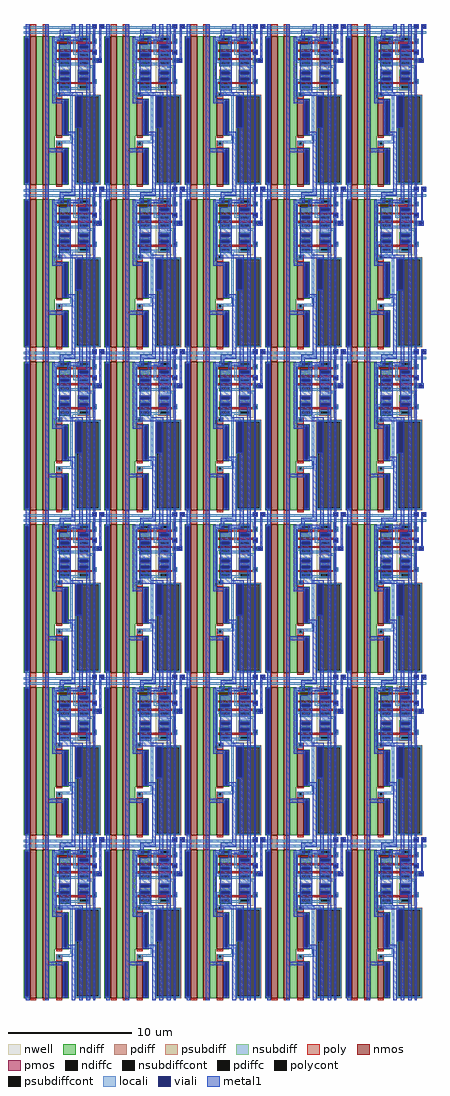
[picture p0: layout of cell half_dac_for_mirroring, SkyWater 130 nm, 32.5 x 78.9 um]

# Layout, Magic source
magic
tech sky130A
use current_steering_dac_unit_cell_with_encoder  current_steering_dac_unit_cell_with_encoder_0
transform 1 0 0 0 1 15
box 0 -15 650 1300
use current_steering_dac_unit_cell_with_encoder  current_steering_dac_unit_cell_with_encoder_1
transform 1 0 650 0 1 15
box 0 -15 650 1300
use current_steering_dac_unit_cell_with_encoder  current_steering_dac_unit_cell_with_encoder_2
transform 1 0 1300 0 1 15
box 0 -15 650 1300
use current_steering_dac_unit_cell_with_encoder  current_steering_dac_unit_cell_with_encoder_4
transform 1 0 0 0 1 1330
box 0 -15 650 1300
use current_steering_dac_unit_cell_with_encoder  current_steering_dac_unit_cell_with_encoder_5
transform 1 0 650 0 1 1330
box 0 -15 650 1300
use current_steering_dac_unit_cell_with_encoder  current_steering_dac_unit_cell_with_encoder_6
transform 1 0 1300 0 1 1330
box 0 -15 650 1300
use current_steering_dac_unit_cell_with_encoder  current_steering_dac_unit_cell_with_encoder_8
transform 1 0 0 0 1 2645
box 0 -15 650 1300
use current_steering_dac_unit_cell_with_encoder  current_steering_dac_unit_cell_with_encoder_9
transform 1 0 650 0 1 2645
box 0 -15 650 1300
use current_steering_dac_unit_cell_with_encoder  current_steering_dac_unit_cell_with_encoder_10
transform 1 0 1300 0 1 2645
box 0 -15 650 1300
use current_steering_dac_unit_cell_with_encoder  current_steering_dac_unit_cell_with_encoder_12
transform 1 0 0 0 1 3960
box 0 -15 650 1300
use current_steering_dac_unit_cell_with_encoder  current_steering_dac_unit_cell_with_encoder_13
transform 1 0 650 0 1 3960
box 0 -15 650 1300
use current_steering_dac_unit_cell_with_encoder  current_steering_dac_unit_cell_with_encoder_14
transform 1 0 1300 0 1 3960
box 0 -15 650 1300
use current_steering_dac_unit_cell_with_encoder  current_steering_dac_unit_cell_with_encoder_16
transform 1 0 -650 0 1 3960
box 0 -15 650 1300
use current_steering_dac_unit_cell_with_encoder  current_steering_dac_unit_cell_with_encoder_17
transform 1 0 -650 0 1 2645
box 0 -15 650 1300
use current_steering_dac_unit_cell_with_encoder  current_steering_dac_unit_cell_with_encoder_18
transform 1 0 -650 0 1 1330
box 0 -15 650 1300
use current_steering_dac_unit_cell_with_encoder  current_steering_dac_unit_cell_with_encoder_19
transform 1 0 -650 0 1 15
box 0 -15 650 1300
use dummy_current_steering_dac_unit_cell_with_encoder  dummy_current_steering_dac_unit_cell_with_encoder_0
transform 1 0 -650 0 1 5275
box 0 -15 650 1300
use dummy_current_steering_dac_unit_cell_with_encoder  dummy_current_steering_dac_unit_cell_with_encoder_1
transform 1 0 1950 0 1 3960
box 0 -15 650 1300
use dummy_current_steering_dac_unit_cell_with_encoder  dummy_current_steering_dac_unit_cell_with_encoder_2
transform 1 0 1950 0 1 2645
box 0 -15 650 1300
use dummy_current_steering_dac_unit_cell_with_encoder  dummy_current_steering_dac_unit_cell_with_encoder_3
transform 1 0 1950 0 1 1330
box 0 -15 650 1300
use dummy_current_steering_dac_unit_cell_with_encoder  dummy_current_steering_dac_unit_cell_with_encoder_4
transform 1 0 1950 0 1 15
box 0 -15 650 1300
use dummy_current_steering_dac_unit_cell_with_encoder  dummy_current_steering_dac_unit_cell_with_encoder_5
transform 1 0 -650 0 1 -1300
box 0 -15 650 1300
use dummy_current_steering_dac_unit_cell_with_encoder  dummy_current_steering_dac_unit_cell_with_encoder_6
transform 1 0 0 0 1 -1300
box 0 -15 650 1300
use dummy_current_steering_dac_unit_cell_with_encoder  dummy_current_steering_dac_unit_cell_with_encoder_7
transform 1 0 650 0 1 -1300
box 0 -15 650 1300
use dummy_current_steering_dac_unit_cell_with_encoder  dummy_current_steering_dac_unit_cell_with_encoder_8
transform 1 0 1300 0 1 -1300
box 0 -15 650 1300
use dummy_current_steering_dac_unit_cell_with_encoder  dummy_current_steering_dac_unit_cell_with_encoder_9
transform 1 0 1950 0 1 -1300
box 0 -15 650 1300
use dummy_current_steering_dac_unit_cell_with_encoder  dummy_current_steering_dac_unit_cell_with_encoder_10
transform 1 0 0 0 1 5275
box 0 -15 650 1300
use dummy_current_steering_dac_unit_cell_with_encoder  dummy_current_steering_dac_unit_cell_with_encoder_11
transform 1 0 650 0 1 5275
box 0 -15 650 1300
use dummy_current_steering_dac_unit_cell_with_encoder  dummy_current_steering_dac_unit_cell_with_encoder_12
transform 1 0 1300 0 1 5275
box 0 -15 650 1300
use dummy_current_steering_dac_unit_cell_with_encoder  dummy_current_steering_dac_unit_cell_with_encoder_13
transform 1 0 1950 0 1 5275
box 0 -15 650 1300
<< end >>

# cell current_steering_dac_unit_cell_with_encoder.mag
magic
tech sky130A
<< nwell >>
rect 415 745 555 1225
<< nmos >>
rect 50 0 100 1200
rect 150 0 200 1200
rect 280 1140 380 1155
rect 280 1075 380 1090
rect 280 1010 380 1025
rect 280 815 380 830
rect 260 395 310 695
rect 260 0 310 300
<< pmos >>
rect 435 1140 535 1155
rect 435 1075 535 1090
rect 435 1010 535 1025
rect 435 815 535 830
<< ndiff >>
rect 0 1185 50 1200
rect 0 15 15 1185
rect 35 15 50 1185
rect 0 0 50 15
rect 100 0 150 1200
rect 200 695 250 1200
rect 280 1190 380 1205
rect 280 1170 295 1190
rect 365 1170 380 1190
rect 280 1155 380 1170
rect 280 1090 380 1140
rect 280 1060 380 1075
rect 280 1040 295 1060
rect 365 1040 380 1060
rect 280 1025 380 1040
rect 280 995 380 1010
rect 280 975 295 995
rect 365 975 380 995
rect 280 960 380 975
rect 280 865 380 880
rect 280 845 295 865
rect 365 845 380 865
rect 280 830 380 845
rect 280 800 380 815
rect 280 780 295 800
rect 365 780 380 800
rect 280 765 380 780
rect 200 395 260 695
rect 310 680 360 695
rect 310 410 325 680
rect 345 410 360 680
rect 310 395 360 410
rect 200 300 250 395
rect 200 0 260 300
rect 310 285 360 300
rect 310 15 325 285
rect 345 15 360 285
rect 310 0 360 15
<< pdiff >>
rect 435 1190 535 1205
rect 435 1170 450 1190
rect 520 1170 535 1190
rect 435 1155 535 1170
rect 435 1125 535 1140
rect 435 1105 450 1125
rect 520 1105 535 1125
rect 435 1090 535 1105
rect 435 1060 535 1075
rect 435 1040 450 1060
rect 520 1040 535 1060
rect 435 1025 535 1040
rect 435 995 535 1010
rect 435 975 450 995
rect 520 975 535 995
rect 435 960 535 975
rect 435 865 535 880
rect 435 845 450 865
rect 520 845 535 865
rect 435 830 535 845
rect 435 800 535 815
rect 435 780 450 800
rect 520 780 535 800
rect 435 765 535 780
<< ndiffc >>
rect 15 15 35 1185
rect 295 1170 365 1190
rect 295 1040 365 1060
rect 295 975 365 995
rect 295 845 365 865
rect 295 780 365 800
rect 325 410 345 680
rect 325 15 345 285
<< pdiffc >>
rect 450 1170 520 1190
rect 450 1105 520 1125
rect 450 1040 520 1060
rect 450 975 520 995
rect 450 845 520 865
rect 450 780 520 800
<< psubdiff >>
rect 280 915 380 930
rect 280 895 295 915
rect 365 895 380 915
rect 280 880 380 895
rect 410 715 620 730
rect 410 15 425 715
rect 605 15 620 715
rect 410 0 620 15
<< nsubdiff >>
rect 435 915 535 930
rect 435 895 450 915
rect 520 895 535 915
rect 435 880 535 895
<< psubdiffcont >>
rect 295 895 365 915
rect 425 15 605 715
<< nsubdiffcont >>
rect 450 895 520 915
<< poly >>
rect 50 1200 100 1300
rect 150 1200 200 1300
rect 550 1170 590 1180
rect 550 1155 560 1170
rect 265 1140 280 1155
rect 380 1140 435 1155
rect 535 1150 560 1155
rect 580 1150 590 1170
rect 535 1140 590 1150
rect 265 1075 280 1090
rect 380 1075 435 1090
rect 535 1080 590 1090
rect 535 1075 560 1080
rect 550 1060 560 1075
rect 580 1060 590 1080
rect 550 1050 590 1060
rect 265 1010 280 1025
rect 380 1010 435 1025
rect 535 1015 590 1025
rect 535 1010 560 1015
rect 550 995 560 1010
rect 580 995 590 1015
rect 550 985 590 995
rect 550 845 590 855
rect 550 830 560 845
rect 265 815 280 830
rect 380 815 435 830
rect 535 825 560 830
rect 580 825 590 845
rect 535 815 590 825
rect 260 740 310 750
rect 260 720 275 740
rect 295 720 310 740
rect 260 695 310 720
rect 260 380 310 395
rect 260 345 310 355
rect 260 325 275 345
rect 295 325 310 345
rect 260 300 310 325
rect 50 -15 100 0
rect 150 -15 200 0
rect 260 -15 310 0
<< polycont >>
rect 560 1150 580 1170
rect 560 1060 580 1080
rect 560 995 580 1015
rect 560 825 580 845
rect 275 720 295 740
rect 275 325 295 345
<< locali >>
rect 550 1290 590 1300
rect 550 1280 560 1290
rect 0 1270 560 1280
rect 580 1270 590 1290
rect 0 1260 590 1270
rect 610 1290 650 1300
rect 610 1270 620 1290
rect 640 1270 650 1290
rect 610 1260 650 1270
rect 0 1220 650 1240
rect 5 1185 45 1195
rect 5 15 15 1185
rect 35 15 45 1185
rect 285 1190 375 1200
rect 285 1180 295 1190
rect 245 1170 295 1180
rect 365 1170 375 1190
rect 440 1190 530 1200
rect 440 1180 450 1190
rect 245 1160 375 1170
rect 400 1170 450 1180
rect 520 1170 530 1190
rect 400 1160 530 1170
rect 550 1180 570 1220
rect 550 1170 590 1180
rect 245 1005 265 1160
rect 400 1070 420 1160
rect 550 1150 560 1170
rect 580 1150 590 1170
rect 550 1140 590 1150
rect 440 1125 530 1135
rect 440 1105 450 1125
rect 520 1105 530 1125
rect 440 1095 530 1105
rect 550 1080 590 1090
rect 285 1060 375 1070
rect 285 1040 295 1060
rect 365 1040 375 1060
rect 400 1060 530 1070
rect 400 1050 450 1060
rect 285 1030 375 1040
rect 440 1040 450 1050
rect 520 1040 530 1060
rect 550 1060 560 1080
rect 580 1060 590 1080
rect 550 1050 590 1060
rect 440 1030 530 1040
rect 550 1015 630 1025
rect 245 995 375 1005
rect 245 985 295 995
rect 245 750 265 985
rect 285 975 295 985
rect 365 985 375 995
rect 440 995 530 1005
rect 440 985 450 995
rect 365 975 450 985
rect 520 975 530 995
rect 550 995 560 1015
rect 580 995 600 1015
rect 620 995 630 1015
rect 550 985 630 995
rect 285 965 530 975
rect 510 945 570 965
rect 285 915 375 925
rect 285 895 295 915
rect 365 895 375 915
rect 285 865 375 895
rect 285 845 295 865
rect 365 845 375 865
rect 285 835 375 845
rect 440 915 530 925
rect 440 895 450 915
rect 520 895 530 915
rect 440 865 530 895
rect 440 845 450 865
rect 520 845 530 865
rect 440 835 530 845
rect 550 855 570 945
rect 550 845 590 855
rect 550 825 560 845
rect 580 825 590 845
rect 550 815 590 825
rect 285 800 375 810
rect 285 780 295 800
rect 365 790 375 800
rect 440 800 530 810
rect 440 790 450 800
rect 365 780 450 790
rect 520 780 530 800
rect 285 770 530 780
rect 245 740 305 750
rect 245 730 275 740
rect 265 720 275 730
rect 295 720 305 740
rect 265 710 305 720
rect 315 680 355 690
rect 315 410 325 680
rect 345 410 355 680
rect 315 400 355 410
rect 375 355 395 770
rect 265 345 395 355
rect 265 325 275 345
rect 295 335 395 345
rect 415 715 615 725
rect 295 325 305 335
rect 265 315 305 325
rect 5 5 45 15
rect 315 285 355 295
rect 315 15 325 285
rect 345 15 355 285
rect 315 5 355 15
rect 415 15 425 715
rect 605 15 615 715
rect 415 5 615 15
<< viali >>
rect 560 1270 580 1290
rect 620 1270 640 1290
rect 15 15 35 1185
rect 450 1105 520 1125
rect 295 1040 365 1060
rect 560 1060 580 1080
rect 600 995 620 1015
rect 295 895 365 915
rect 295 845 365 865
rect 450 895 520 915
rect 450 845 520 865
rect 325 410 345 680
rect 325 15 345 285
rect 425 470 465 715
<< metal1 >>
rect 15 1195 45 1300
rect 5 1185 45 1195
rect 5 15 15 1185
rect 35 15 45 1185
rect 5 5 45 15
rect 15 -15 45 5
rect 170 295 200 1300
rect 385 1255 415 1300
rect 290 1225 415 1255
rect 290 1195 320 1225
rect 445 1195 475 1300
rect 230 1165 320 1195
rect 350 1165 475 1195
rect 230 690 260 1165
rect 350 1135 380 1165
rect 505 1135 535 1300
rect 550 1290 590 1300
rect 550 1270 560 1290
rect 580 1270 590 1290
rect 550 1260 590 1270
rect 610 1290 650 1300
rect 610 1270 620 1290
rect 640 1270 650 1290
rect 610 1260 650 1270
rect 285 1060 380 1135
rect 285 1040 295 1060
rect 365 1040 380 1060
rect 285 915 380 1040
rect 285 895 295 915
rect 365 895 380 915
rect 285 865 380 895
rect 285 845 295 865
rect 365 845 380 865
rect 285 750 380 845
rect 440 1125 535 1135
rect 440 1105 450 1125
rect 520 1105 535 1125
rect 440 915 535 1105
rect 560 1090 575 1260
rect 550 1080 590 1090
rect 550 1060 560 1080
rect 580 1060 590 1080
rect 550 1050 590 1060
rect 440 895 450 915
rect 520 895 535 915
rect 440 865 535 895
rect 440 845 450 865
rect 520 845 535 865
rect 440 835 535 845
rect 285 720 475 750
rect 415 715 475 720
rect 230 680 355 690
rect 230 660 325 680
rect 310 410 325 660
rect 345 430 355 680
rect 415 470 425 715
rect 465 470 475 715
rect 415 460 475 470
rect 345 410 415 430
rect 310 400 415 410
rect 170 285 355 295
rect 170 265 325 285
rect 170 -15 200 265
rect 315 15 325 265
rect 345 15 355 285
rect 315 5 355 15
rect 385 -15 415 400
rect 445 -15 475 460
rect 505 -15 535 835
rect 560 -15 575 1050
rect 610 1025 625 1260
rect 590 1015 630 1025
rect 590 995 600 1015
rect 620 995 630 1015
rect 590 985 630 995
<< labels >>
flabel metal1 185 1300 185 1300 1 FreeSans 240 0 0 0 I1
port 1 n
flabel metal1 400 1300 400 1300 1 FreeSans 240 0 0 0 I2
port 2 n
flabel poly 75 1300 75 1300 1 FreeSans 240 0 0 0 Vbn
port 3 n
flabel poly 175 1300 175 1300 1 FreeSans 240 0 0 -400 Vcn
port 4 n
flabel metal1 570 1300 570 1300 1 FreeSans 240 0 0 0 Vx
port 5 n
flabel metal1 650 1280 650 1280 3 FreeSans 240 0 0 0 Vx1
port 6 e
flabel locali 0 1230 0 1230 7 FreeSans 240 0 0 0 Vy
port 7 w
flabel metal1 520 1300 520 1300 1 FreeSans 240 0 0 0 VP
port 8 n
flabel metal1 460 1300 460 1300 1 FreeSans 240 0 0 0 VN
port 9 n
flabel metal1 30 1300 30 1300 1 FreeSans 240 0 0 -400 VN2
port 10 n
<< end >>

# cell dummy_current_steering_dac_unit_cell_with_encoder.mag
magic
tech sky130A
<< nwell >>
rect 415 745 555 1225
<< nmos >>
rect 50 0 100 1200
rect 150 0 200 1200
rect 280 1140 380 1155
rect 280 1075 380 1090
rect 280 1010 380 1025
rect 280 815 380 830
rect 260 395 310 695
rect 260 0 310 300
<< pmos >>
rect 435 1140 535 1155
rect 435 1075 535 1090
rect 435 1010 535 1025
rect 435 815 535 830
<< ndiff >>
rect 0 1185 50 1200
rect 0 15 15 1185
rect 35 15 50 1185
rect 0 0 50 15
rect 100 0 150 1200
rect 200 695 250 1200
rect 280 1190 380 1205
rect 280 1170 295 1190
rect 365 1170 380 1190
rect 280 1155 380 1170
rect 280 1090 380 1140
rect 280 1060 380 1075
rect 280 1040 295 1060
rect 365 1040 380 1060
rect 280 1025 380 1040
rect 280 995 380 1010
rect 280 975 295 995
rect 365 975 380 995
rect 280 960 380 975
rect 280 865 380 880
rect 280 845 295 865
rect 365 845 380 865
rect 280 830 380 845
rect 280 800 380 815
rect 280 780 295 800
rect 365 780 380 800
rect 280 765 380 780
rect 200 395 260 695
rect 310 680 360 695
rect 310 410 325 680
rect 345 410 360 680
rect 310 395 360 410
rect 200 300 250 395
rect 200 0 260 300
rect 310 285 360 300
rect 310 15 325 285
rect 345 15 360 285
rect 310 0 360 15
<< pdiff >>
rect 435 1190 535 1205
rect 435 1170 450 1190
rect 520 1170 535 1190
rect 435 1155 535 1170
rect 435 1125 535 1140
rect 435 1105 450 1125
rect 520 1105 535 1125
rect 435 1090 535 1105
rect 435 1060 535 1075
rect 435 1040 450 1060
rect 520 1040 535 1060
rect 435 1025 535 1040
rect 435 995 535 1010
rect 435 975 450 995
rect 520 975 535 995
rect 435 960 535 975
rect 435 865 535 880
rect 435 845 450 865
rect 520 845 535 865
rect 435 830 535 845
rect 435 800 535 815
rect 435 780 450 800
rect 520 780 535 800
rect 435 765 535 780
<< ndiffc >>
rect 15 15 35 1185
rect 295 1170 365 1190
rect 295 1040 365 1060
rect 295 975 365 995
rect 295 845 365 865
rect 295 780 365 800
rect 325 410 345 680
rect 325 15 345 285
<< pdiffc >>
rect 450 1170 520 1190
rect 450 1105 520 1125
rect 450 1040 520 1060
rect 450 975 520 995
rect 450 845 520 865
rect 450 780 520 800
<< psubdiff >>
rect 280 915 380 930
rect 280 895 295 915
rect 365 895 380 915
rect 280 880 380 895
rect 410 715 620 730
rect 410 15 425 715
rect 605 15 620 715
rect 410 0 620 15
<< nsubdiff >>
rect 435 915 535 930
rect 435 895 450 915
rect 520 895 535 915
rect 435 880 535 895
<< psubdiffcont >>
rect 295 895 365 915
rect 425 15 605 715
<< nsubdiffcont >>
rect 450 895 520 915
<< poly >>
rect 50 1200 100 1300
rect 150 1200 200 1300
rect 550 1170 590 1180
rect 550 1155 560 1170
rect 265 1140 280 1155
rect 380 1140 435 1155
rect 535 1150 560 1155
rect 580 1150 590 1170
rect 535 1140 590 1150
rect 265 1075 280 1090
rect 380 1075 435 1090
rect 535 1080 590 1090
rect 535 1075 560 1080
rect 550 1060 560 1075
rect 580 1060 590 1080
rect 550 1050 590 1060
rect 265 1010 280 1025
rect 380 1010 435 1025
rect 535 1015 590 1025
rect 535 1010 560 1015
rect 550 995 560 1010
rect 580 995 590 1015
rect 550 985 590 995
rect 550 845 590 855
rect 550 830 560 845
rect 265 815 280 830
rect 380 815 435 830
rect 535 825 560 830
rect 580 825 590 845
rect 535 815 590 825
rect 260 740 310 750
rect 260 720 275 740
rect 295 720 310 740
rect 260 695 310 720
rect 260 380 310 395
rect 260 345 310 355
rect 260 325 275 345
rect 295 325 310 345
rect 260 300 310 325
rect 50 -15 100 0
rect 150 -15 200 0
rect 260 -15 310 0
<< polycont >>
rect 560 1150 580 1170
rect 560 1060 580 1080
rect 560 995 580 1015
rect 560 825 580 845
rect 275 720 295 740
rect 275 325 295 345
<< locali >>
rect 550 1290 590 1300
rect 550 1280 560 1290
rect 0 1270 560 1280
rect 580 1270 590 1290
rect 0 1260 590 1270
rect 610 1290 650 1300
rect 610 1270 620 1290
rect 640 1270 650 1290
rect 610 1260 650 1270
rect 0 1220 650 1240
rect 5 1185 45 1195
rect 5 15 15 1185
rect 35 15 45 1185
rect 285 1190 375 1200
rect 285 1180 295 1190
rect 245 1170 295 1180
rect 365 1170 375 1190
rect 440 1190 530 1200
rect 440 1180 450 1190
rect 245 1160 375 1170
rect 400 1170 450 1180
rect 520 1170 530 1190
rect 400 1160 530 1170
rect 550 1180 570 1220
rect 550 1170 590 1180
rect 245 1005 265 1160
rect 400 1070 420 1160
rect 550 1150 560 1170
rect 580 1150 590 1170
rect 550 1140 590 1150
rect 440 1125 530 1135
rect 440 1105 450 1125
rect 520 1105 530 1125
rect 440 1095 530 1105
rect 550 1080 590 1090
rect 285 1060 375 1070
rect 285 1040 295 1060
rect 365 1040 375 1060
rect 400 1060 530 1070
rect 400 1050 450 1060
rect 285 1030 375 1040
rect 440 1040 450 1050
rect 520 1040 530 1060
rect 550 1060 560 1080
rect 580 1060 590 1080
rect 550 1050 590 1060
rect 440 1030 530 1040
rect 550 1015 630 1025
rect 245 995 375 1005
rect 245 985 295 995
rect 285 975 295 985
rect 365 985 375 995
rect 440 995 530 1005
rect 440 985 450 995
rect 365 975 450 985
rect 520 975 530 995
rect 550 995 560 1015
rect 580 995 600 1015
rect 620 995 630 1015
rect 550 985 630 995
rect 285 965 530 975
rect 510 945 570 965
rect 285 915 375 925
rect 285 895 295 915
rect 365 895 375 915
rect 285 865 375 895
rect 285 855 295 865
rect 245 845 295 855
rect 365 845 375 865
rect 245 835 375 845
rect 440 915 530 925
rect 440 895 450 915
rect 520 895 530 915
rect 440 865 530 895
rect 440 845 450 865
rect 520 845 530 865
rect 440 835 530 845
rect 550 855 570 945
rect 550 845 590 855
rect 245 750 265 835
rect 550 825 560 845
rect 580 825 590 845
rect 550 815 590 825
rect 285 800 375 810
rect 285 780 295 800
rect 365 790 375 800
rect 440 800 530 810
rect 440 790 450 800
rect 365 780 450 790
rect 520 780 530 800
rect 285 770 530 780
rect 245 740 395 750
rect 245 730 275 740
rect 265 720 275 730
rect 295 730 395 740
rect 295 720 305 730
rect 265 710 305 720
rect 315 680 355 690
rect 315 410 325 680
rect 345 410 355 680
rect 315 400 355 410
rect 375 355 395 730
rect 265 345 395 355
rect 265 325 275 345
rect 295 335 395 345
rect 415 715 615 725
rect 295 325 305 335
rect 265 315 305 325
rect 5 5 45 15
rect 315 285 355 295
rect 315 15 325 285
rect 345 15 355 285
rect 315 5 355 15
rect 415 15 425 715
rect 605 15 615 715
rect 415 5 615 15
<< viali >>
rect 560 1270 580 1290
rect 620 1270 640 1290
rect 15 15 35 1185
rect 450 1105 520 1125
rect 295 1040 365 1060
rect 560 1060 580 1080
rect 600 995 620 1015
rect 295 895 365 915
rect 295 845 365 865
rect 450 895 520 915
rect 450 845 520 865
rect 325 410 345 680
rect 325 15 345 285
rect 425 465 465 715
<< metal1 >>
rect 15 1195 45 1300
rect 5 1185 45 1195
rect 5 15 15 1185
rect 35 15 45 1185
rect 5 5 45 15
rect 15 -15 45 5
rect 170 295 200 1300
rect 385 1255 415 1300
rect 290 1225 415 1255
rect 290 1195 320 1225
rect 445 1195 475 1300
rect 230 1165 320 1195
rect 350 1165 475 1195
rect 230 690 260 1165
rect 350 1135 380 1165
rect 505 1135 535 1300
rect 550 1290 590 1300
rect 550 1270 560 1290
rect 580 1270 590 1290
rect 550 1260 590 1270
rect 610 1290 650 1300
rect 610 1270 620 1290
rect 640 1270 650 1290
rect 610 1260 650 1270
rect 285 1060 380 1135
rect 285 1040 295 1060
rect 365 1040 380 1060
rect 285 915 380 1040
rect 285 895 295 915
rect 365 895 380 915
rect 285 865 380 895
rect 285 845 295 865
rect 365 845 380 865
rect 285 750 380 845
rect 440 1125 535 1135
rect 440 1105 450 1125
rect 520 1105 535 1125
rect 440 915 535 1105
rect 560 1090 575 1260
rect 550 1080 590 1090
rect 550 1060 560 1080
rect 580 1060 590 1080
rect 550 1050 590 1060
rect 440 895 450 915
rect 520 895 535 915
rect 440 865 535 895
rect 440 845 450 865
rect 520 845 535 865
rect 440 835 535 845
rect 285 720 475 750
rect 415 715 475 720
rect 230 680 355 690
rect 230 660 325 680
rect 310 410 325 660
rect 345 430 355 680
rect 415 465 425 715
rect 465 465 475 715
rect 415 460 475 465
rect 345 410 415 430
rect 310 400 415 410
rect 170 285 355 295
rect 170 265 325 285
rect 170 -15 200 265
rect 315 15 325 265
rect 345 15 355 285
rect 315 5 355 15
rect 385 -15 415 400
rect 445 -15 475 460
rect 505 -15 535 835
rect 560 -15 575 1050
rect 610 1025 625 1260
rect 590 1015 630 1025
rect 590 995 600 1015
rect 620 995 630 1015
rect 590 985 630 995
<< labels >>
flabel metal1 185 1300 185 1300 1 FreeSans 240 0 0 0 I1
port 1 n
flabel metal1 400 1300 400 1300 1 FreeSans 240 0 0 0 I2
port 2 n
flabel poly 75 1300 75 1300 1 FreeSans 240 0 0 0 Vbn
port 3 n
flabel poly 175 1300 175 1300 1 FreeSans 240 0 0 -400 Vcn
port 4 n
flabel metal1 570 1300 570 1300 1 FreeSans 240 0 0 0 Vx
port 5 n
flabel metal1 650 1280 650 1280 3 FreeSans 240 0 0 0 Vx1
port 6 e
flabel locali 0 1230 0 1230 7 FreeSans 240 0 0 0 Vy
port 7 w
flabel metal1 520 1300 520 1300 1 FreeSans 240 0 0 0 VP
port 8 n
flabel metal1 460 1300 460 1300 1 FreeSans 240 0 0 0 VN
port 9 n
flabel metal1 30 1300 30 1300 1 FreeSans 240 0 0 -400 VN2
port 10 n
<< end >>
